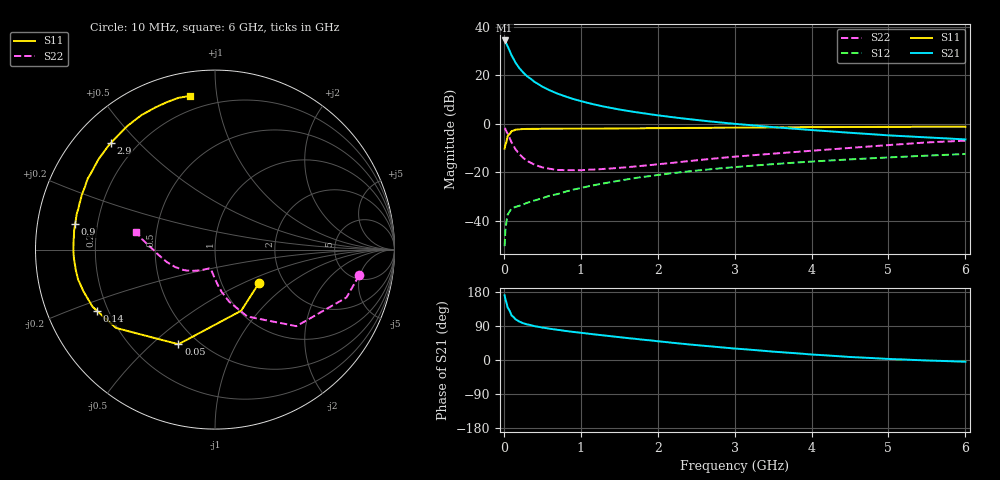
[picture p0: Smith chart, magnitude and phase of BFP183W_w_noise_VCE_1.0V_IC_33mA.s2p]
! Infineon Technologies  Discrete & RF Semiconductors
! BFP183W
! VCE =  1.0 V,  IC =  33 mA
! Common Emitter S-Parameters:  Jan 2017
# GHz  S  MA  R  50
!  f  S11  S21  S12  S22
! GHz  MAG  ANG  MAG  ANG  MAG  ANG  MAG  ANG
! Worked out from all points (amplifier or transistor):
!   77 points, 10 MHz to 6 GHz, reference 50 ohm
!   highest |S21| = 34.4 dB at 10 MHz (marker M1)
!   |S21| within 3 dB of that: start of sweep to 57.96 MHz
!   unconditionally stable (mu >= 1): 410.8 MHz to end of sweep
!   at 130 MHz: K = 0.47, MSG = 30.6 dB, |S12| = -34.6 dB
!   at 2.2 GHz: K = 1.31, MAG = 8.2 dB, |S12| = -20.3 dB
!   at 6 GHz: K = 1.13, MAG = 0.8 dB, |S12| = -12.5 dB
!   lowest NFmin = 1.47 dB at 450 MHz
!   S11 on the Smith chart (normalised r, x): 10 MHz: 1.50, -0.61; 50 MHz: 0.39, -0.61; 140 MHz: 0.16, -0.24; 900 MHz: 0.12, +0.09; 2.9 GHz: 0.11, +0.42; 6 GHz: 0.12, +0.85
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0.01  0.3079 -36.8  52.2 170.7  0.003 82.4  0.8157 -10.1
0.02  0.3705 -66.8  50.12 160.4  0.0063 74.8  0.7798 -20.0
0.05  0.5653 -111.1  39.37 138.0  0.0134 54.4  0.6224 -43.3
0.1  0.7038 -141.7  25.74 117.6  0.0178 42.4  0.4134 -64.3
0.14  0.74 -152.5  19.8 110.3  0.019 38.6  0.3219 -72.1
0.15  0.7529 -155.0  18.39 107.8  0.0193 37.7  0.3003 -74.8
0.2  0.7686 -162.3  14.14 101.5  0.0204 37.3  0.2386 -81.0
0.25  0.7804 -167.6  11.47 97.2  0.0217 38.0  0.199 -85.3
0.3  0.7837 -171.2  9.606 94.1  0.0234 40.9  0.1727 -88.6
0.4  0.7875 -176.4  7.278 89.2  0.0263 45.1  0.1425 -93.6
0.5  0.7895 180.0  5.828 85.6  0.0292 48.6  0.1265 -97.1
0.6  0.7891 176.9  4.873 82.4  0.0331 52.0  0.1178 -100.3
0.7  0.7899 174.5  4.177 79.7  0.0356 55.3  0.1116 -102.1
0.9  0.7916 169.6  3.25 74.2  0.0439 58.1  0.1107 -106.3
1.1  0.7956 165.4  2.673 69.5  0.0515 60.2  0.1131 -109.5
1.5  0.8019 158.0  1.971 60.4  0.0672 61.3  0.1236 -117.3
2.1  0.813 147.0  1.429 47.5  0.0921 60.1  0.1516 -129.7
2.9  0.8303 134.2  1.034 32.1  0.124 55.7  0.203 -145.6
3.1  0.8333 131.2  0.968 28.8  0.1318 54.4  0.216 -149.4
4.1  0.8543 117.5  0.724 13.3  0.17 47.5  0.2855 -167.8
5.1  0.8649 107.1  0.566 2.0  0.2061 40.1  0.3733 176.0
6  0.8677 99.1  0.476 -4.6  0.2383 33.3  0.4487 167.5
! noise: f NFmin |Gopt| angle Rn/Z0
0.45  1.47  0.28  -179  0.1
0.9  1.51  0.31  -177  0.1
1.9  2  0.46  -156  0.11
2.4  2.24  0.51  -151  0.16
